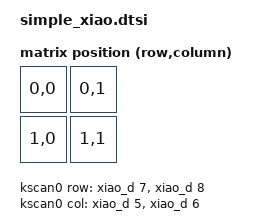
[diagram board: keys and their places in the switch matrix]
#include <dt-bindings/zmk/matrix_transform.h>
#include <physical_layouts.dtsi>

/ {
    chosen {
        zmk,physical-layout = &physical_layout0;
    };

    physical_layout0: physical_layout_0 {
        compatible = "zmk,physical-layout";
        display-name = "Default Layout";
        kscan = <&kscan0>;
        transform = <&default_transform>;
	keys  //                      w   h x y rot rx ry
	    = <&key_physical_attrs 100 100   0   0   0  0  0>
	    , <&key_physical_attrs 100 100 100   0   0  0  0>
	    , <&key_physical_attrs 100 100   0 100   0  0  0>
	    , <&key_physical_attrs 100 100 100 100   0  0  0>
	    ;
    };

    default_transform: keymap_transform0 {
        compatible = "zmk,matrix-transform";
        rows = <2>;
        columns = <2>;
        map = <
            RC(0,0) RC(0,1)
            RC(1,0) RC(1,1)
        >;
    };

    kscan0: kscan0 {
        compatible = "zmk,kscan-gpio-matrix";
        diode-direction = "col2row";
        col-gpios
            = <&xiao_d 5 GPIO_ACTIVE_HIGH>
            , <&xiao_d 6 GPIO_ACTIVE_HIGH>
            ;
        row-gpios
            = <&xiao_d 7 (GPIO_ACTIVE_HIGH | GPIO_PULL_DOWN)>
            , <&xiao_d 8 (GPIO_ACTIVE_HIGH | GPIO_PULL_DOWN)>
            ;
    };
};
